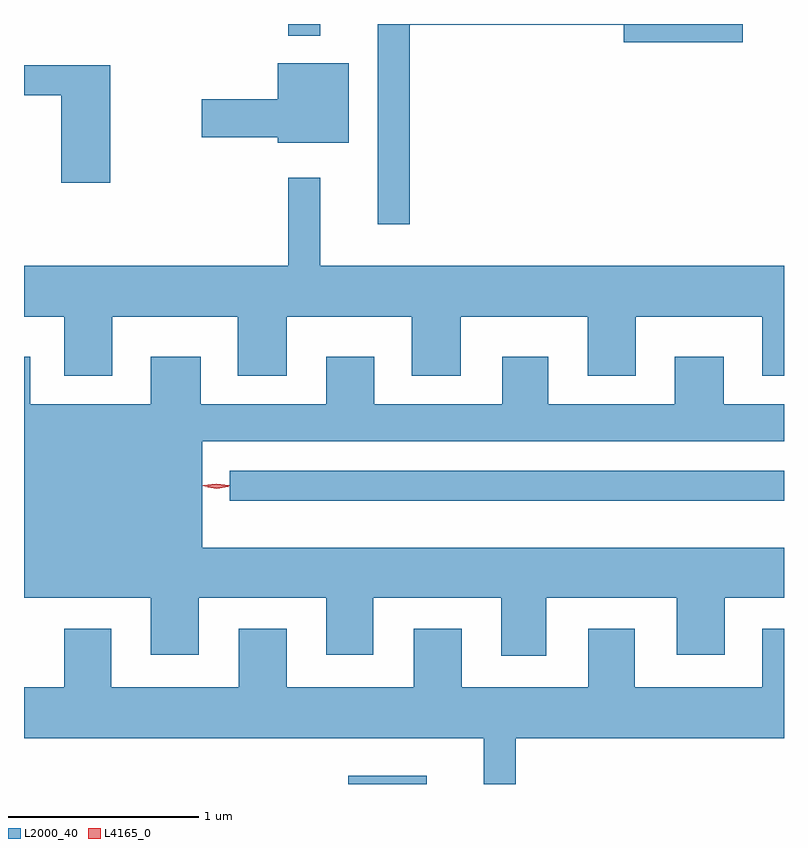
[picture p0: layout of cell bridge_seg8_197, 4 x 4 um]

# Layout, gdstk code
import gdstk
lib = gdstk.Library(unit=1e-6, precision=1e-09)
def R(c, l, rs):  # rectangles x0, y0, x1, y1
    for r in rs: c.add(gdstk.rectangle(r[:2], r[2:], *l))
def P(c, l, *ps):  # polygons
    for p in ps: c.add(gdstk.Polygon(p, *l))
L2000_40 = (2000, 40)
L4165_0 = (4165, 0)

bridge_seg8_197 = lib.new_cell('bridge_seg8_197')
R(bridge_seg8_197, L2000_40, [(1241.676,1909.436,1242.089,1909.479), (1241.053,1910.926,1243.97,1911.084), (1241.361,1913.373,1241.529,1913.436)])
P(bridge_seg8_197, L2000_40, [(1241.999,1913.431),(1243.126,1913.431),(1243.126,1913.341),(1243.754,1913.341),(1243.754,1913.436),(1241.831,1913.436),(1241.831,1912.383),(1241.999,1912.383)],
  [(1241.679,1913.229),(1241.306,1913.229),(1241.306,1913.039),(1240.906,1913.039),(1240.906,1912.841),(1241.306,1912.841),(1241.306,1912.811),(1241.679,1912.811)],
  [(1240.424,1913.219),(1239.97,1913.219),(1239.97,1913.061),(1240.166,1913.061),(1240.166,1912.601),(1240.424,1912.601)],
  [(1240.434,1911.896),(1241.096,1911.896),(1241.096,1911.586),(1241.354,1911.586),(1241.354,1911.896),(1242.011,1911.896),(1242.011,1911.586),(1242.269,1911.586),(1242.269,1911.896),(1242.936,1911.896),(1242.936,1911.586),(1243.189,1911.586),(1243.189,1911.896),(1243.856,1911.896),(1243.856,1911.586),(1243.97,1911.586),(1243.97,1912.164),(1241.529,1912.164),(1241.529,1912.628),(1241.361,1912.628),(1241.361,1912.164),(1239.97,1912.164),(1239.97,1911.896),(1240.181,1911.896),(1240.181,1911.586),(1240.434,1911.586)],
  [(1242.719,1910.416),(1243.406,1910.416),(1243.406,1910.116),(1243.659,1910.116),(1243.659,1910.416),(1243.97,1910.416),(1243.97,1910.679),(1240.909,1910.679),(1240.909,1911.241),(1243.97,1911.241),(1243.97,1911.434),(1243.654,1911.434),(1243.654,1911.684),(1243.396,1911.684),(1243.396,1911.434),(1242.729,1911.434),(1242.729,1911.684),(1242.486,1911.684),(1242.486,1911.434),(1241.814,1911.434),(1241.814,1911.684),(1241.561,1911.684),(1241.561,1911.434),(1240.899,1911.434),(1240.899,1911.684),(1240.636,1911.684),(1240.636,1911.434),(1240.004,1911.434),(1240.004,1911.684),(1239.97,1911.684),(1239.97,1910.416),(1240.636,1910.416),(1240.636,1910.116),(1240.889,1910.116),(1240.889,1910.416),(1241.561,1910.416),(1241.561,1910.116),(1241.809,1910.116),(1241.809,1910.416),(1242.481,1910.416),(1242.481,1910.111),(1242.719,1910.111)],
  [(1242.559,1909.676),(1243.97,1909.676),(1243.97,1910.254),(1243.856,1910.254),(1243.856,1909.944),(1243.184,1909.944),(1243.184,1910.254),(1242.941,1910.254),(1242.941,1909.944),(1242.274,1909.944),(1242.274,1910.254),(1242.021,1910.254),(1242.021,1909.944),(1241.354,1909.944),(1241.354,1910.254),(1241.101,1910.254),(1241.101,1909.944),(1240.429,1909.944),(1240.429,1910.254),(1240.181,1910.254),(1240.181,1909.944),(1239.97,1909.944),(1239.97,1909.676),(1242.391,1909.676),(1242.391,1909.436),(1242.559,1909.436)])
P(bridge_seg8_197, L4165_0, [(1240.984,1910.991),(1240.922,1911),(1240.922,1911.001),(1240.922,1911.001),(1240.984,1911.011),(1241.046,1911.002),(1241.047,1911.001),(1241.046,1911.001)],
  [(1240.982,1910.997),(1240.913,1911.007),(1240.912,1911.007),(1240.913,1911.008),(1240.982,1911.017),(1241.05,1911.008),(1241.05,1911.007),(1241.05,1911.007)])

lib.write_gds('bridge_seg8_197.gds')
